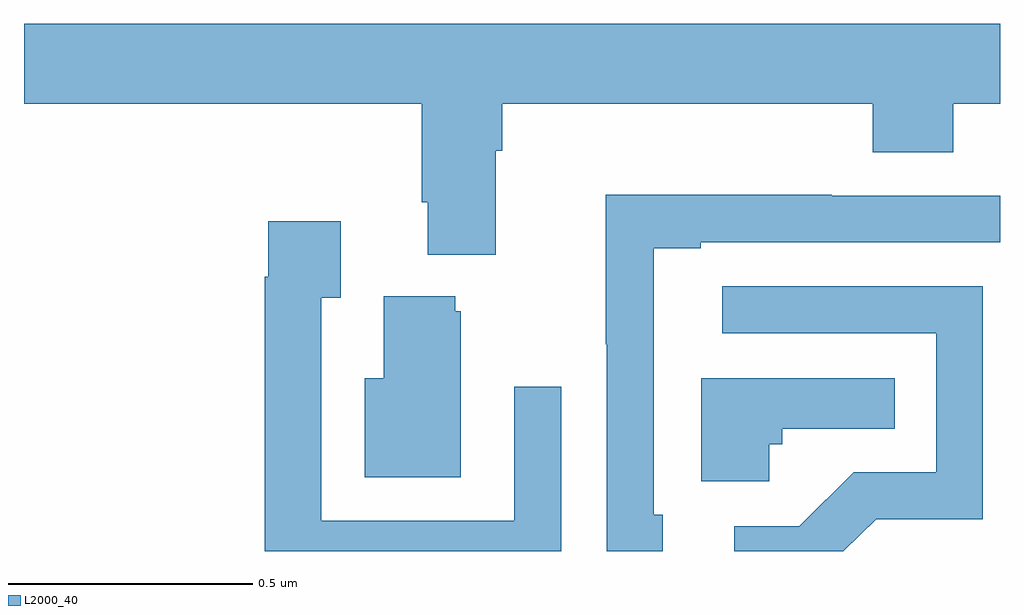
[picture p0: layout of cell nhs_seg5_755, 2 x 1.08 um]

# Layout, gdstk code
import gdstk
lib = gdstk.Library(unit=1e-6, precision=1e-09)
def P(c, l, *ps):  # polygons
    for p in ps: c.add(gdstk.Polygon(p, *l))
L2000_40 = (2000, 40)

nhs_seg5_755 = lib.new_cell('nhs_seg5_755')
P(nhs_seg5_755, L2000_40, [(120.967,900.62),(120.98,900.62),(120.98,900.716),(121.739,900.716),(121.739,900.617),(121.904,900.617),(121.904,900.716),(122,900.716),(122,900.88),(120,900.88),(120,900.716),(120.815,900.716),(120.815,900.514),(120.827,900.514),(120.827,900.407),(120.967,900.407)],
  [(121.309,899.874),(121.29,899.874),(121.29,900.42),(121.387,900.42),(121.387,900.432),(122,900.432),(122,900.528),(121.655,900.528),(121.655,900.53),(121.192,900.53),(121.192,900.223),(121.194,900.223),(121.194,899.799),(121.309,899.799)],
  [(121.101,900.136),(121.005,900.136),(121.005,899.862),(120.609,899.862),(120.609,900.319),(120.649,900.319),(120.649,900.475),(120.501,900.475),(120.501,900.362),(120.493,900.362),(120.493,899.799),(121.101,899.799)],
  [(121.746,899.865),(121.965,899.865),(121.965,900.342),(121.431,900.342),(121.431,900.246),(121.869,900.246),(121.869,899.961),(121.7,899.961),(121.589,899.85),(121.455,899.85),(121.455,899.799),(121.679,899.799)],
  [(120.895,900.291),(120.884,900.291),(120.884,900.322),(120.737,900.322),(120.737,900.154),(120.698,900.154),(120.698,899.951),(120.895,899.951)],
  [(121.527,900.018),(121.554,900.018),(121.554,900.05),(121.784,900.05),(121.784,900.154),(121.388,900.154),(121.388,899.942),(121.527,899.942)])

lib.write_gds('nhs_seg5_755.gds')
